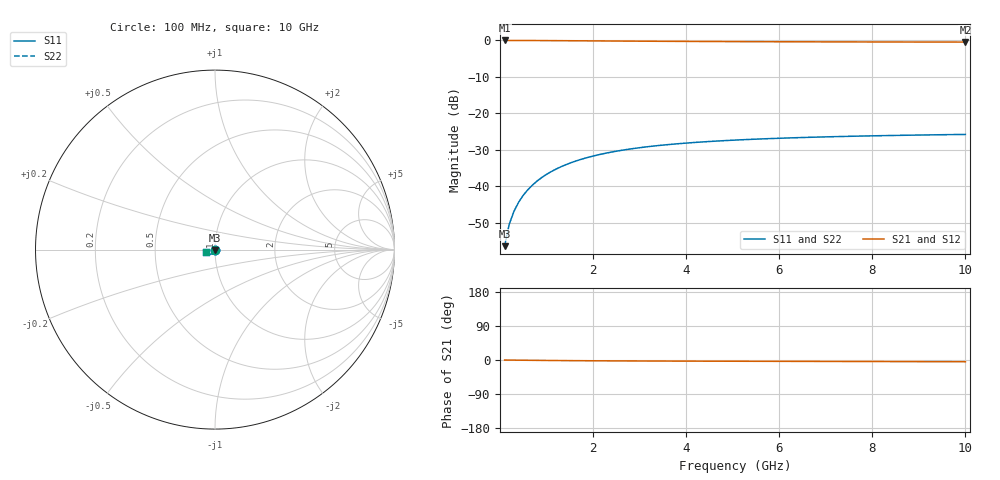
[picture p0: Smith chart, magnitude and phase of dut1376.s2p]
! Touchstone file exported from HFSS 2024.1.0
!  File:  C:/UserFiles/LocalFiles/RDL_TSV_Batchsim/temp_TSV1_1376_1780379798.aedt
!  Generated:  02:02:40 PM Jun  2, 2026
!  Design:  TSV1
!  Project:  temp_TSV1_1376_1780379798
!  Setup:  Setup1
!  Solution:  Sweep
! Variables:
!  dtsv = 14.24um
!  hbump = 3um
!  htsv = 67.96um
!  lrdl = 252.1521522um
!  p = 40
!  p1 = 50.96um
!  t = 500um
!  trdl = 3um
!  wrdl = 24.89489489um
# GHz S MA R 50.000000
! Terminal data exported
! Port[1] = TSV22_T1
! Port[2] = TSV22_T2
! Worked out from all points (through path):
!   100 points, 100 MHz to 10 GHz, reference 50 ohm
!   highest |S21| = 0.00 dB at 100 MHz (marker M1); lowest = -0.4 dB at 10 GHz (marker M2)
!   lowest |S11| = -56.4 dB at 100 MHz (marker M3), VSWR 1.00, Z = 50 - j0.152 ohm
!   |S11| at or under -10 dB: start of sweep to end of sweep
!   |S22| runs from -56.4 to -25.8 dB; largest |S21 - S12| = 4.3e-15
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0.1  0.001518 -88.9  0.9999 -0.1  0.9999 -0.1  0.001518 -88.9
! Gamma 0 0 0 0
! Port Impedance 50 0 50 0
0.2  0.003035 -91.9  0.9997 -0.3  0.9997 -0.3  0.003035 -91.9
0.3  0.00455 -94.1  0.9995 -0.4  0.9995 -0.4  0.00455 -94.1
0.4  0.006056 -96.0  0.9991 -0.5  0.9991 -0.5  0.006056 -96.0
0.5  0.007547 -97.9  0.9987 -0.6  0.9987 -0.6  0.007547 -97.9
0.6  0.009018 -99.7  0.9982 -0.7  0.9982 -0.7  0.009018 -99.7
0.7  0.01046 -101.5  0.9976 -0.9  0.9976 -0.9  0.01046 -101.5
0.8  0.01188 -103.3  0.997 -1.0  0.997 -1.0  0.01188 -103.3
0.9  0.01327 -105.0  0.9963 -1.1  0.9963 -1.1  0.01327 -105.0
1.1  0.01594 -108.3  0.9948 -1.3  0.9948 -1.3  0.01594 -108.3
1.4  0.01966 -112.9  0.9921 -1.6  0.9921 -1.6  0.01966 -112.9
1.6  0.02195 -115.8  0.9903 -1.7  0.9903 -1.7  0.02195 -115.8
1.8  0.02408 -118.5  0.9884 -1.9  0.9884 -1.9  0.02408 -118.5
2.1  0.02699 -122.4  0.9855 -2.1  0.9855 -2.1  0.02699 -122.4
2.5  0.03038 -126.9  0.9817 -2.3  0.9817 -2.3  0.03038 -126.9
2.9  0.03326 -131.0  0.9782 -2.5  0.9782 -2.5  0.03326 -131.0
3.4  0.03629 -135.4  0.9742 -2.8  0.9742 -2.8  0.03629 -135.4
4.2  0.04009 -141.3  0.9688 -3.0  0.9688 -3.0  0.04009 -141.3
5.1  0.04328 -146.7  0.9639 -3.3  0.9639 -3.3  0.04328 -146.7
6.7  0.04718 -154.0  0.9576 -3.7  0.9576 -3.7  0.04718 -154.0
8.4  0.04985 -159.8  0.953 -4.2  0.953 -4.2  0.04985 -159.8
10  0.05157 -164.1  0.95 -4.6  0.95 -4.6  0.05157 -164.1
